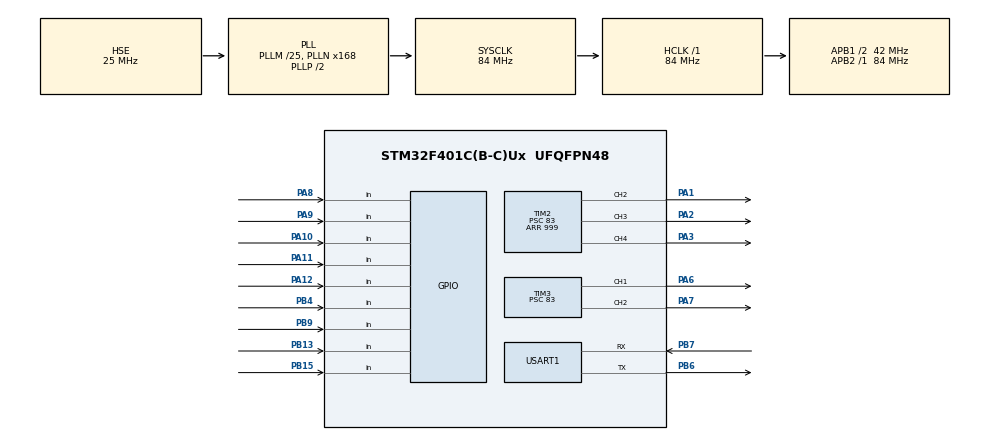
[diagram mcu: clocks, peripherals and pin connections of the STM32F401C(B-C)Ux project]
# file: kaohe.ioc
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Mcu.Family=STM32F4
Mcu.Name=STM32F401C(B-C)Ux
Mcu.Package=UFQFPN48
NVIC.PriorityGroup=NVIC_PRIORITYGROUP_4
NVIC.TIM1_UP_TIM10_IRQn=true\:0\:0\:false\:false\:true\:true\:true
NVIC.TIM2_IRQn=true\:0\:0\:false\:false\:true\:true\:true
NVIC.TIM3_IRQn=true\:0\:0\:false\:false\:true\:true\:true
NVIC.USART1_IRQn=true\:0\:0\:false\:false\:true\:true\:true
PA1.Signal=S_TIM2_CH2
PA10.GPIO_PuPd=GPIO_PULLUP
PA10.Signal=GPIO_Input
PA11.GPIO_PuPd=GPIO_PULLUP
PA11.Signal=GPIO_Input
PA12.GPIO_PuPd=GPIO_PULLUP
PA12.Signal=GPIO_Input
PA13.Mode=Serial_Wire
PA13.Signal=SYS_JTMS-SWDIO
PA14.Mode=Serial_Wire
PA14.Signal=SYS_JTCK-SWCLK
PA2.Signal=S_TIM2_CH3
PA3.Signal=S_TIM2_CH4
PA6.Signal=S_TIM3_CH1
PA7.Signal=S_TIM3_CH2
PA8.GPIO_PuPd=GPIO_PULLUP
PA8.Signal=GPIO_Input
PA9.GPIO_PuPd=GPIO_PULLUP
PA9.Signal=GPIO_Input
PB13.GPIO_PuPd=GPIO_PULLUP
PB13.Signal=GPIO_Input
PB15.GPIO_PuPd=GPIO_PULLUP
PB15.Signal=GPIO_Input
PB4.GPIO_PuPd=GPIO_PULLUP
PB4.Signal=GPIO_Input
PB6.Mode=Asynchronous
PB6.Signal=USART1_TX
PB7.Mode=Asynchronous
PB7.Signal=USART1_RX
PB9.GPIO_PuPd=GPIO_PULLUP
PB9.Signal=GPIO_Input
PH0\ -\ OSC_IN.Mode=HSE-External-Oscillator
PH0\ -\ OSC_IN.Signal=RCC_OSC_IN
PH1\ -\ OSC_OUT.Mode=HSE-External-Oscillator
PH1\ -\ OSC_OUT.Signal=RCC_OSC_OUT
ProjectManager.HeapSize=0x200
ProjectManager.StackSize=0x400
ProjectManager.TargetToolchain=MDK-ARM V5.27
RCC.48MHZClocksFreq_Value=42000000
RCC.AHBFreq_Value=84000000
RCC.APB1CLKDivider=RCC_HCLK_DIV2
RCC.APB1Freq_Value=42000000
RCC.APB1TimFreq_Value=84000000
RCC.APB2Freq_Value=84000000
RCC.APB2TimFreq_Value=84000000
RCC.CortexFreq_Value=84000000
RCC.HCLKFreq_Value=84000000
RCC.HSE_VALUE=25000000
RCC.HSI_VALUE=16000000
RCC.LSE_VALUE=32768
RCC.PLLM=25
RCC.PLLN=168
RCC.PLLSourceVirtual=RCC_PLLSOURCE_HSE
RCC.SYSCLKFreq_VALUE=84000000
RCC.SYSCLKSource=RCC_SYSCLKSOURCE_PLLCLK
RCC.VCOOutputFreq_Value=168000000
RTC.Year=22
SH.S_TIM2_CH2.0=TIM2_CH2,PWM Generation2 CH2
SH.S_TIM2_CH3.0=TIM2_CH3,PWM Generation3 CH3
SH.S_TIM2_CH4.0=TIM2_CH4,PWM Generation4 CH4
SH.S_TIM3_CH1.0=TIM3_CH1,PWM Generation1 CH1
SH.S_TIM3_CH2.0=TIM3_CH2,PWM Generation2 CH2
TIM10.AutoReloadPreload=TIM_AUTORELOAD_PRELOAD_ENABLE
TIM10.Period=65535
TIM10.Prescaler=83
TIM2.AutoReloadPreload=TIM_AUTORELOAD_PRELOAD_ENABLE
TIM2.Channel-PWM\ Generation2\ CH2=TIM_CHANNEL_2
TIM2.Channel-PWM\ Generation3\ CH3=TIM_CHANNEL_3
TIM2.Channel-PWM\ Generation4\ CH4=TIM_CHANNEL_4
TIM2.Period=999
TIM2.Prescaler=83
TIM3.AutoReloadPreload=TIM_AUTORELOAD_PRELOAD_ENABLE
TIM3.Channel-PWM\ Generation1\ CH1=TIM_CHANNEL_1
TIM3.Channel-PWM\ Generation2\ CH2=TIM_CHANNEL_2
TIM3.Period=999
TIM3.Prescaler=83
USART1.VirtualMode=VM_ASYNC
VP_RTC_VS_RTC_Activate.Mode=RTC_Enabled
VP_RTC_VS_RTC_Calendar.Mode=RTC_Calendar
VP_TIM10_VS_ClockSourceINT.Mode=Enable_Timer
VP_TIM2_VS_ClockSourceINT.Mode=Internal
VP_TIM3_VS_ClockSourceINT.Mode=Internal
board=custom

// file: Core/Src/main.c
/* USER CODE BEGIN Header */
/**
  ******************************************************************************
  * @file           : main.c
  * @brief          : Main program body
  ******************************************************************************
  * @attention
  *
  * <h2><center>&copy; Copyright (c) 2023 STMicroelectronics.
  * All rights reserved.</center></h2>
  *
  * This software component is licensed by ST under BSD 3-Clause license,
  * the "License"; You may not use this file except in compliance with the
  * License. You may obtain a copy of the License at:
  *                        opensource.org/licenses/BSD-3-Clause
  *
  ******************************************************************************
  */
/* USER CODE END Header */
#include "main.h"
#include "rtc.h"
#include "tim.h"
#include "usart.h"
#include "gpio.h"

/* USER CODE BEGIN Includes */
#include <stdlib.h>
#include <stdio.h>
#include <time.h>
/* USER CODE END Includes */

/* USER CODE BEGIN PM */
int C_flag1 = 0,C_flag2 = 0,C_flag3 = 0,C_flag4 = 0,C_flag5 = 0;  //按键按下标志量
int J_flag1 = 0,J_flag2 = 0,J_flag3 = 0;//状态转换标志量
int suiji_flag =0;  //随机抽取的标志量
int L_flag1 = 0,L_flag2 = 0,L_flag3 = 0,L_flag4 = 0,L_flag5 = 0;//灯是否亮起的标志量
int A_flag1 = 0,A_flag2 = 0,A_flag3 = 0,A_flag4 = 0,A_flag5 = 0;//灯是否亮起的标志量
extern int count;
char str[50];//串口发送数据存储
int ret = 0;//随机量
int Ret=0;//输出量
int ccount=0,j = 0,k = 0;//定时器计数量
//int Count=0;
/* USER CODE END PM */

void SystemClock_Config(void);

/* USER CODE BEGIN 0 */
/**
  * @brief  按键扫描函数
  * @param
  * @retval None
  */
void Key_Scan(void);
/**
  * @brief  通用定时器回调函数
  * @param
  * @retval None
  */
void HAL_TIM_PeriodElapsedCallback(TIM_HandleTypeDef *htim)
{
	ccount++;

}
/* USER CODE END 0 */

int main(void)
{
  /* USER CODE BEGIN 1 */
	int temp = 0;
  /* USER CODE END 1 */

  /* MCU Configuration--------------------------------------------------------*/

  /* Reset of all peripherals, Initializes the Flash interface and the Systick. */
  HAL_Init();

  /* Configure the system clock */
  SystemClock_Config();

  /* Initialize all configured peripherals */
  MX_GPIO_Init();
  MX_TIM2_Init();
  MX_TIM3_Init();
  MX_USART1_UART_Init();
  MX_RTC_Init();
  MX_TIM10_Init();
  /* USER CODE BEGIN 2 */
	HAL_TIM_Base_Start_IT(&htim10);
	__HAL_TIM_CLEAR_IT(&htim10,TIM_IT_UPDATE);

	HAL_TIM_PWM_Start(&htim2,TIM_CHANNEL_2);
	__HAL_TIM_CLEAR_IT(&htim2,TIM_CHANNEL_2);

	HAL_TIM_PWM_Start(&htim2,TIM_CHANNEL_3);
	__HAL_TIM_CLEAR_IT(&htim2,TIM_CHANNEL_3);

	HAL_TIM_PWM_Start(&htim2,TIM_CHANNEL_4);
	__HAL_TIM_CLEAR_IT(&htim2,TIM_CHANNEL_4);

	HAL_TIM_PWM_Start(&htim3,TIM_CHANNEL_1);
	__HAL_TIM_CLEAR_IT(&htim3,TIM_CHANNEL_1);

	HAL_TIM_PWM_Start(&htim3,TIM_CHANNEL_2);
	__HAL_TIM_CLEAR_IT(&htim3,TIM_CHANNEL_2);

	__HAL_TIM_SET_COMPARE(&htim2,TIM_CHANNEL_2,0);
	__HAL_TIM_SET_COMPARE(&htim2,TIM_CHANNEL_3,0);
	__HAL_TIM_SET_COMPARE(&htim2,TIM_CHANNEL_4,0);
	__HAL_TIM_SET_COMPARE(&htim3,TIM_CHANNEL_1,0);
	__HAL_TIM_SET_COMPARE(&htim3,TIM_CHANNEL_2,0);	//PWM初始化

	//以上均为初始化函数
  /* USER CODE END 2 */

  /* Infinite loop */
  while (1)
  {

    /* USER CODE BEGIN 3 */
//		HAL_TIM_PeriodElapsedCallback(&htim10);

		HAL_TIM_PeriodElapsedCallback(&htim10);//取一直改变的数使得srand函数可以取随机数
		if(J_flag1 == 1)//在阶段2 下活动
		{

				Key_Scan();
			if(suiji_flag == 1)
			{
				HAL_TIM_PeriodElapsedCallback(&htim10);
				srand(ccount);
				ret=rand() % 5 + 1;//取随机数

				if(ret == 1)//判断取随机数后应打开哪个灯并且防止再次被读
				{
					A_flag1++;
					if(A_flag1 >= 2)
					{
						ret = 0;
						A_flag1= 1;
					}
					else if(A_flag1 == 1)
					{
						Ret = ret;
					}
				}

				if(ret == 2 )
				{
					A_flag2++;
					if(A_flag2 >= 2)
					{
						ret = 0;
						A_flag2= 1;

					}
					else if(A_flag2 == 1)
					{
						Ret = ret;
					}
				}

				if(ret == 3 )
				{
					A_flag3++;
					if(A_flag3 >= 2)
					{
						ret = 0;
						A_flag3= 1;

					}
					else if(A_flag3 == 1)
					{
						Ret = ret;
					}
				}

				if(ret == 4 )
				{
					A_flag4++;
					if(A_flag4 >= 2)
					{
						ret = 0;
						A_flag4= 1;

					}
					else if(A_flag4 == 1)
					{
						Ret = ret;
					}
				}

				if(ret == 5 )
				{
					A_flag5++;
					if(A_flag5 >= 2)
					{
						ret = 0;
						A_flag5 = 1;

					}
					else if(A_flag5 == 1)
					{
						Ret = ret;
					}
				}
				if(temp != Ret)
				{
					suiji_flag = 0;//当重复取时，重新取随机值
				}
				temp = Ret;

//				do{
//
//					HAL_TIM_PeriodElapsedCallback(&htim10);
//					srand(cCount);
//					ret=rand() % 5 + 1;
//
//				}while(ret == Ret[0] || ret == Ret[1]||ret == Ret[2]||ret == Ret[3]||ret == Ret[4]);
//
//				Ret[j++] = ret;
//				suiji_flag = 0;//很明显，这段函数更为简洁且具有相同逻辑，但是我不知道为啥跑不通

			}
			if(L_flag1 == 1&&L_flag2 == 1&&L_flag3 == 1&&L_flag4 == 1&&L_flag5 == 1)//所有灯亮起，进入阶段3
			{
				J_flag2 = 1;
				J_flag1 = 0;
			}

		}

		if(J_flag2 == 1)//阶段3呼吸灯
		{
//
			for(int i=0;i<10;i++)
			{
				__HAL_TIM_SET_COMPARE(&htim2,TIM_CHANNEL_2,i*100);
				__HAL_TIM_SET_COMPARE(&htim2,TIM_CHANNEL_3,i*100);
				__HAL_TIM_SET_COMPARE(&htim2,TIM_CHANNEL_4,i*100);
				__HAL_TIM_SET_COMPARE(&htim3,TIM_CHANNEL_1,i*100);
				__HAL_TIM_SET_COMPARE(&htim3,TIM_CHANNEL_2,i*100);
				HAL_Delay(10);
			}
			for(int i=0;i<10;i++)
			{
				__HAL_TIM_SET_COMPARE(&htim2,TIM_CHANNEL_2,1000-i*100);
				__HAL_TIM_SET_COMPARE(&htim2,TIM_CHANNEL_3,1000-i*100);
				__HAL_TIM_SET_COMPARE(&htim2,TIM_CHANNEL_4,1000-i*100);
				__HAL_TIM_SET_COMPARE(&htim3,TIM_CHANNEL_1,1000-i*100);
				__HAL_TIM_SET_COMPARE(&htim3,TIM_CHANNEL_2,1000-i*100);
				HAL_Delay(10);
			}
			HAL_UART_Transmit_IT(&huart1,(uint8_t *)"已进入完全激活状态\n", 30);
		}

  }

  /* USER CODE END 3 */
}

void SystemClock_Config(void)
{
  RCC_OscInitTypeDef RCC_OscInitStruct = {0};
  RCC_ClkInitTypeDef RCC_ClkInitStruct = {0};
  RCC_PeriphCLKInitTypeDef PeriphClkInitStruct = {0};

  /** Configure the main internal regulator output voltage
  */
  __HAL_RCC_PWR_CLK_ENABLE();
  __HAL_PWR_VOLTAGESCALING_CONFIG(PWR_REGULATOR_VOLTAGE_SCALE2);
  /** Initializes the RCC Oscillators according to the specified parameters
  * in the RCC_OscInitTypeDef structure.
  */
  RCC_OscInitStruct.OscillatorType = RCC_OSCILLATORTYPE_LSI|RCC_OSCILLATORTYPE_HSE;
  RCC_OscInitStruct.HSEState = RCC_HSE_ON;
  RCC_OscInitStruct.LSIState = RCC_LSI_ON;
  RCC_OscInitStruct.PLL.PLLState = RCC_PLL_ON;
  RCC_OscInitStruct.PLL.PLLSource = RCC_PLLSOURCE_HSE;
  RCC_OscInitStruct.PLL.PLLM = 25;
  RCC_OscInitStruct.PLL.PLLN = 168;
  RCC_OscInitStruct.PLL.PLLP = RCC_PLLP_DIV2;
  RCC_OscInitStruct.PLL.PLLQ = 4;
  if (HAL_RCC_OscConfig(&RCC_OscInitStruct) != HAL_OK)
  {
    Error_Handler();
  }
  /** Initializes the CPU, AHB and APB buses clocks
  */
  RCC_ClkInitStruct.ClockType = RCC_CLOCKTYPE_HCLK|RCC_CLOCKTYPE_SYSCLK
                              |RCC_CLOCKTYPE_PCLK1|RCC_CLOCKTYPE_PCLK2;
  RCC_ClkInitStruct.SYSCLKSource = RCC_SYSCLKSOURCE_PLLCLK;
  RCC_ClkInitStruct.AHBCLKDivider = RCC_SYSCLK_DIV1;
  RCC_ClkInitStruct.APB1CLKDivider = RCC_HCLK_DIV2;
  RCC_ClkInitStruct.APB2CLKDivider = RCC_HCLK_DIV1;

  if (HAL_RCC_ClockConfig(&RCC_ClkInitStruct, FLASH_LATENCY_2) != HAL_OK)
  {
    Error_Handler();
  }
  PeriphClkInitStruct.PeriphClockSelection = RCC_PERIPHCLK_RTC;
  PeriphClkInitStruct.RTCClockSelection = RCC_RTCCLKSOURCE_LSI;
  if (HAL_RCCEx_PeriphCLKConfig(&PeriphClkInitStruct) != HAL_OK)
  {
    Error_Handler();
  }
}

/* USER CODE BEGIN 4 */
void Key_Scan(void)
{
	int i = 0;

	if(HAL_GPIO_ReadPin(GPIOB,GPIO_PIN_9) == GPIO_PIN_RESET)
	{

		HAL_Delay(20);

		do{
			i++;
		}while(HAL_GPIO_ReadPin(GPIOB,GPIO_PIN_9) == GPIO_PIN_RESET);
		if(i>1500000)
		{
			J_flag1 = 0;
			J_flag2 = 0;
			count = 0;
			i=0;
			__HAL_TIM_SET_COMPARE(&htim2,TIM_CHANNEL_2,0);
			__HAL_TIM_SET_COMPARE(&htim2,TIM_CHANNEL_3,0);
			__HAL_TIM_SET_COMPARE(&htim2,TIM_CHANNEL_4,0);
			__HAL_TIM_SET_COMPARE(&htim3,TIM_CHANNEL_1,0);
			__HAL_TIM_SET_COMPARE(&htim3,TIM_CHANNEL_2,0);
		}
		C_flag1 = 1;
		HAL_Delay(20);

	}

	if(HAL_GPIO_ReadPin(GPIOB,GPIO_PIN_4) == GPIO_PIN_RESET)
	{
		HAL_Delay(20);
		do{
		i++;
		}while(HAL_GPIO_ReadPin(GPIOB,GPIO_PIN_4) == GPIO_PIN_RESET);
		if(i>1500000)
		{
			J_flag1 = 0;
			J_flag2 = 0;
			count = 0;
			i=0;
			__HAL_TIM_SET_COMPARE(&htim2,TIM_CHANNEL_2,0);
			__HAL_TIM_SET_COMPARE(&htim2,TIM_CHANNEL_3,0);
			__HAL_TIM_SET_COMPARE(&htim2,TIM_CHANNEL_4,0);
			__HAL_TIM_SET_COMPARE(&htim3,TIM_CHANNEL_1,0);
			__HAL_TIM_SET_COMPARE(&htim3,TIM_CHANNEL_2,0);
		}
		C_flag2 = 1;
		HAL_Delay(20);
	}
	if(HAL_GPIO_ReadPin(GPIOA,GPIO_PIN_9) == GPIO_PIN_RESET)
	{
		HAL_Delay(20);
		do{
			i++;
		}while(HAL_GPIO_ReadPin(GPIOA,GPIO_PIN_9) == GPIO_PIN_RESET);
		if(i>2000000)
		{
			J_flag1 = 0;
			J_flag2 = 0;
			count = 0;
			i=0;
			__HAL_TIM_SET_COMPARE(&htim2,TIM_CHANNEL_2,0);
			__HAL_TIM_SET_COMPARE(&htim2,TIM_CHANNEL_3,0);
			__HAL_TIM_SET_COMPARE(&htim2,TIM_CHANNEL_4,0);
			__HAL_TIM_SET_COMPARE(&htim3,TIM_CHANNEL_1,0);
			__HAL_TIM_SET_COMPARE(&htim3,TIM_CHANNEL_2,0);
		}
		C_flag3 = 1;
		HAL_Delay(20);
	}
	if(HAL_GPIO_ReadPin(GPIOB,GPIO_PIN_15) == GPIO_PIN_RESET)
	{
		HAL_Delay(20);
		do{
			i++;
		}while(HAL_GPIO_ReadPin(GPIOB,GPIO_PIN_15) == GPIO_PIN_RESET);
		if(i>1500000)
		{
			J_flag1 = 0;
			J_flag2 = 0;
			count = 0;
			i=0;
			__HAL_TIM_SET_COMPARE(&htim2,TIM_CHANNEL_2,0);
			__HAL_TIM_SET_COMPARE(&htim2,TIM_CHANNEL_3,0);
			__HAL_TIM_SET_COMPARE(&htim2,TIM_CHANNEL_4,0);
			__HAL_TIM_SET_COMPARE(&htim3,TIM_CHANNEL_1,0);
			__HAL_TIM_SET_COMPARE(&htim3,TIM_CHANNEL_2,0);
		}
		C_flag4 = 1;
		HAL_Delay(20);
	}
	if(HAL_GPIO_ReadPin(GPIOB,GPIO_PIN_13) == GPIO_PIN_RESET)
	{
		HAL_Delay(20);
		do{
			i++;
		}while(HAL_GPIO_ReadPin(GPIOB,GPIO_PIN_13) == GPIO_PIN_RESET);
		if(i>1500000)
		{
			J_flag1 = 0;
			J_flag2 = 0;
			count = 0;
			i=0;
			__HAL_TIM_SET_COMPARE(&htim2,TIM_CHANNEL_2,0);
			__HAL_TIM_SET_COMPARE(&htim2,TIM_CHANNEL_3,0);
			__HAL_TIM_SET_COMPARE(&htim2,TIM_CHANNEL_4,0);
			__HAL_TIM_SET_COMPARE(&htim3,TIM_CHANNEL_1,0);
			__HAL_TIM_SET_COMPARE(&htim3,TIM_CHANNEL_2,0);
		}
		C_flag5 = 1;
		HAL_Delay(20);
	}
}

/* USER CODE END 4 */

void Error_Handler(void)
{
}

/************************ (C) COPYRIGHT STMicroelectronics *****END OF FILE****/
